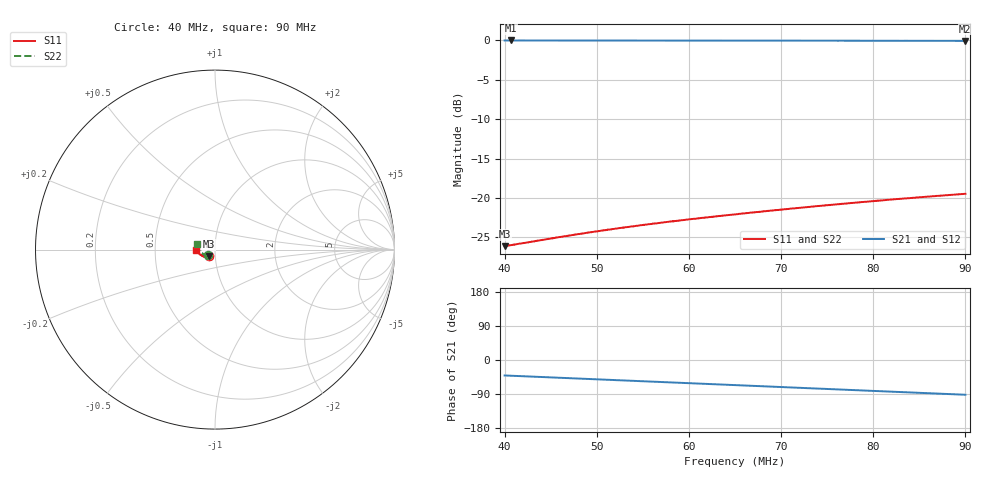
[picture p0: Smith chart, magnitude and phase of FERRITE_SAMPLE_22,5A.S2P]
!Agilent Technologies,E5061B,MY49102235,A.02.00
!Date: Mon Jul 03 10:33:12 2023
!Data & Calibration Information:
!Freq	S11:SOLT2(ON)	S21:SOLT2(ON)	S12:SOLT2(ON)	S22:SOLT2(ON)
# Hz S RI R 50
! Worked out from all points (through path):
!   1600 points, 40 MHz to 90 MHz, reference 50 ohm
!   highest |S21| = -0.01 dB at 40.69 MHz (marker M1); lowest = -0.1 dB at 89.91 MHz (marker M2)
!   group delay of S21, straight-line fit = 2.83 ns
!   lowest |S11| = -26.1 dB at 40 MHz (marker M3), VSWR 1.10, Z = 46.8 - j3.58 ohm
!   |S11| at or under -10 dB: start of sweep to end of sweep
!   |S22| runs from -26.2 to -19.5 dB; largest |S21 - S12| = 0.0016
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4e7  -0.0316 -0.0382  0.7563 -0.6527  0.7564 -0.6518  -0.0365 -0.0326
4.068793e7  -0.0325 -0.0383  0.7484 -0.662  0.7485 -0.6608  -0.0375 -0.0327
4.300188e7  -0.0359 -0.0389  0.7202 -0.6919  0.7204 -0.6912  -0.0414 -0.0325
4.447154e7  -0.0381 -0.0393  0.7017 -0.7104  0.702 -0.7097  -0.0439 -0.0323
4.834897e7  -0.0439 -0.04  0.6508 -0.7568  0.6509 -0.7562  -0.0504 -0.0309
5.000625e7  -0.0467 -0.0402  0.6281 -0.7755  0.6282 -0.775  -0.0532 -0.0301
5.23202e7  -0.0502 -0.0402  0.5956 -0.8004  0.5953 -0.7998  -0.057 -0.0285
5.482176e7  -0.0541 -0.0399  0.5592 -0.8257  0.5592 -0.8256  -0.0612 -0.0267
5.666667e7  -0.0571 -0.0394  0.5318 -0.8435  0.5319 -0.8429  -0.0641 -0.0249
6.06379e7  -0.0635 -0.0379  0.4709 -0.8786  0.4712 -0.8777  -0.0699 -0.021
6.307692e7  -0.0677 -0.0362  0.4327 -0.8978  0.4326 -0.897  -0.0735 -0.0184
6.501563e7  -0.0709 -0.0348  0.4013 -0.9124  0.4016 -0.9113  -0.0762 -0.016
6.901814e7  -0.0774 -0.031  0.3354 -0.9383  0.3359 -0.9377  -0.0818 -0.0106
7.148843e7  -0.0813 -0.0283  0.2935 -0.9522  0.2944 -0.9514  -0.0853 -0.00688
7.33646e7  -0.0844 -0.0261  0.2612 -0.9613  0.2623 -0.9605  -0.0876 -0.00389
7.558474e7  -0.0877 -0.0232  0.223 -0.9705  0.2237 -0.97  -0.0903 1.46e-05
7.780488e7  -0.091 -0.0202  0.1842 -0.9782  0.1853 -0.9779  -0.0927 0.00393
8.16823e7  -0.0965 -0.0147  0.1167 -0.9878  0.1172 -0.9874  -0.0966 0.0117
8.371482e7  -0.099 -0.0116  0.0809 -0.9906  0.0815 -0.9907  -0.0983 0.0162
8.606004e7  -0.102 -0.00784  0.0397 -0.993  0.0399 -0.9924  -0.0999 0.0215
8.990619e7  -0.1063 -0.00107  -0.0274 -0.9926  -0.0274 -0.9924  -0.1018 0.0304
9e7  -0.1064 -0.000918  -0.029 -0.9926  -0.0289 -0.9921  -0.1019 0.0306
